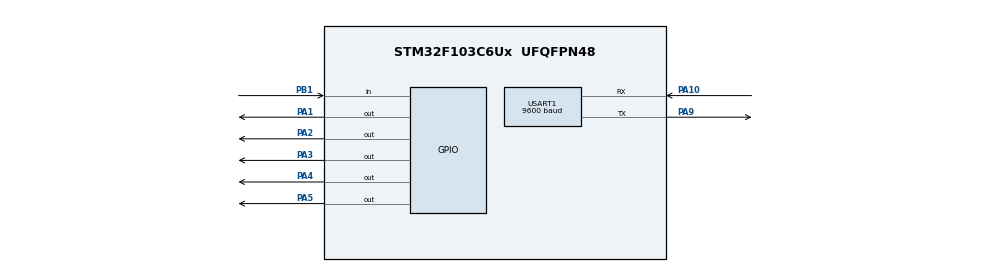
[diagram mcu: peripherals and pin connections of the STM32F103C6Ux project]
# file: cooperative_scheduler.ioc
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Mcu.Family=STM32F1
Mcu.Name=STM32F103C6Ux
Mcu.Package=UFQFPN48
NVIC.PriorityGroup=NVIC_PRIORITYGROUP_4
NVIC.TIM2_IRQn=true\:0\:0\:false\:false\:true\:true\:true
NVIC.USART1_IRQn=true\:0\:0\:false\:false\:true\:true\:true
PA1.Signal=GPIO_Output
PA10.Mode=Asynchronous
PA10.Signal=USART1_RX
PA2.Signal=GPIO_Output
PA3.Signal=GPIO_Output
PA4.Signal=GPIO_Output
PA5.Signal=GPIO_Output
PA9.Mode=Asynchronous
PA9.Signal=USART1_TX
PB1.Signal=GPIO_Input
ProjectManager.HeapSize=0x200
ProjectManager.StackSize=0x400
ProjectManager.TargetToolchain=STM32CubeIDE
RCC.APB1Freq_Value=8000000
RCC.APB2Freq_Value=8000000
TIM2.Period=9
TIM2.Prescaler=7999
USART1.BaudRate=9600
USART1.VirtualMode=VM_ASYNC
VP_SYS_VS_ND.Mode=No_Debug
VP_TIM2_VS_ClockSourceINT.Mode=Internal
board=custom

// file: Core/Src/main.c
/* USER CODE BEGIN Header */
/**
  ******************************************************************************
  * @file           : main.c
  * @brief          : Main program body
  ******************************************************************************
  * @attention
  *
  * <h2><center>&copy; Copyright (c) 2022 STMicroelectronics.
  * All rights reserved.</center></h2>
  *
  * This software component is licensed by ST under BSD 3-Clause license,
  * the "License"; You may not use this file except in compliance with the
  * License. You may obtain a copy of the License at:
  *                        opensource.org/licenses/BSD-3-Clause
  *
  ******************************************************************************
  */
/* USER CODE END Header */
#include "main.h"

/* USER CODE BEGIN Includes */
#include <stdio.h>
#include "scheduler.h"
/* USER CODE END Includes */

TIM_HandleTypeDef htim2;

UART_HandleTypeDef huart1;

void SystemClock_Config(void);
static void MX_GPIO_Init(void);
static void MX_TIM2_Init(void);
static void MX_USART1_UART_Init(void);

/* USER CODE BEGIN 0 */
char str[50];

void ledtest1(){
	HAL_GPIO_TogglePin(GPIOA, GPIO_PIN_1);
	HAL_UART_Transmit(&huart1, (void*) str, sprintf(str, "Task1: %d \r\n",counter), 1000);
}
void ledtest2(){
	HAL_GPIO_TogglePin(GPIOA, GPIO_PIN_2);
	HAL_UART_Transmit(&huart1, (void*) str, sprintf(str, "Task2: %d \r\n",counter), 1000);
}
void ledtest3(){
	HAL_GPIO_TogglePin(GPIOA, GPIO_PIN_3);
	HAL_UART_Transmit(&huart1, (void*) str, sprintf(str, "Task3: %d \r\n",counter), 1000);
}
void ledtest4(){
	HAL_GPIO_TogglePin(GPIOA, GPIO_PIN_4);
	HAL_UART_Transmit(&huart1, (void*) str, sprintf(str, "Task4: %d \r\n",counter), 1000);
}
void ledtest5(){
	HAL_GPIO_TogglePin(GPIOA, GPIO_PIN_5);
	HAL_UART_Transmit(&huart1, (void*) str, sprintf(str, "Task5: %d \r\n",counter), 1000);
}
/* USER CODE END 0 */

int main(void)
{

  /* MCU Configuration--------------------------------------------------------*/

  /* Reset of all peripherals, Initializes the Flash interface and the Systick. */
  HAL_Init();

  /* Configure the system clock */
  SystemClock_Config();

  /* Initialize all configured peripherals */
  MX_GPIO_Init();
  MX_TIM2_Init();
  MX_USART1_UART_Init();
  /* USER CODE BEGIN 2 */
  HAL_TIM_Base_Start_IT (& htim2 );
  /* USER CODE END 2 */

  /* Infinite loop */
  /* USER CODE BEGIN WHILE */
  SCH_Init();
  SCH_Add_Task(ledtest1, 0, 50);
  SCH_Add_Task(ledtest2, 10, 100);
  SCH_Add_Task(ledtest3, 20, 150);
  SCH_Add_Task(ledtest4, 30, 200);
  SCH_Add_Task(ledtest5, 40, 250);
  while (1)
  {
	  SCH_Dispatch_Tasks();
    /* USER CODE END WHILE */

  }
}

void SystemClock_Config(void)
{
  RCC_OscInitTypeDef RCC_OscInitStruct = {0};
  RCC_ClkInitTypeDef RCC_ClkInitStruct = {0};

  /** Initializes the RCC Oscillators according to the specified parameters
  * in the RCC_OscInitTypeDef structure.
  */
  RCC_OscInitStruct.OscillatorType = RCC_OSCILLATORTYPE_HSI;
  RCC_OscInitStruct.HSIState = RCC_HSI_ON;
  RCC_OscInitStruct.HSICalibrationValue = RCC_HSICALIBRATION_DEFAULT;
  RCC_OscInitStruct.PLL.PLLState = RCC_PLL_NONE;
  if (HAL_RCC_OscConfig(&RCC_OscInitStruct) != HAL_OK)
  {
    Error_Handler();
  }
  /** Initializes the CPU, AHB and APB buses clocks
  */
  RCC_ClkInitStruct.ClockType = RCC_CLOCKTYPE_HCLK|RCC_CLOCKTYPE_SYSCLK
                              |RCC_CLOCKTYPE_PCLK1|RCC_CLOCKTYPE_PCLK2;
  RCC_ClkInitStruct.SYSCLKSource = RCC_SYSCLKSOURCE_HSI;
  RCC_ClkInitStruct.AHBCLKDivider = RCC_SYSCLK_DIV1;
  RCC_ClkInitStruct.APB1CLKDivider = RCC_HCLK_DIV1;
  RCC_ClkInitStruct.APB2CLKDivider = RCC_HCLK_DIV1;

  if (HAL_RCC_ClockConfig(&RCC_ClkInitStruct, FLASH_LATENCY_0) != HAL_OK)
  {
    Error_Handler();
  }
}

static void MX_TIM2_Init(void)
{

  TIM_ClockConfigTypeDef sClockSourceConfig = {0};
  TIM_MasterConfigTypeDef sMasterConfig = {0};

  htim2.Instance = TIM2;
  htim2.Init.Prescaler = 7999;
  htim2.Init.CounterMode = TIM_COUNTERMODE_UP;
  htim2.Init.Period = 9;
  htim2.Init.ClockDivision = TIM_CLOCKDIVISION_DIV1;
  htim2.Init.AutoReloadPreload = TIM_AUTORELOAD_PRELOAD_DISABLE;
  if (HAL_TIM_Base_Init(&htim2) != HAL_OK)
  {
    Error_Handler();
  }
  sClockSourceConfig.ClockSource = TIM_CLOCKSOURCE_INTERNAL;
  if (HAL_TIM_ConfigClockSource(&htim2, &sClockSourceConfig) != HAL_OK)
  {
    Error_Handler();
  }
  sMasterConfig.MasterOutputTrigger = TIM_TRGO_RESET;
  sMasterConfig.MasterSlaveMode = TIM_MASTERSLAVEMODE_DISABLE;
  if (HAL_TIMEx_MasterConfigSynchronization(&htim2, &sMasterConfig) != HAL_OK)
  {
    Error_Handler();
  }

}

static void MX_USART1_UART_Init(void)
{

  huart1.Instance = USART1;
  huart1.Init.BaudRate = 9600;
  huart1.Init.WordLength = UART_WORDLENGTH_8B;
  huart1.Init.StopBits = UART_STOPBITS_1;
  huart1.Init.Parity = UART_PARITY_NONE;
  huart1.Init.Mode = UART_MODE_TX_RX;
  huart1.Init.HwFlowCtl = UART_HWCONTROL_NONE;
  huart1.Init.OverSampling = UART_OVERSAMPLING_16;
  if (HAL_UART_Init(&huart1) != HAL_OK)
  {
    Error_Handler();
  }

}

static void MX_GPIO_Init(void)
{
  GPIO_InitTypeDef GPIO_InitStruct = {0};

  /* GPIO Ports Clock Enable */
  __HAL_RCC_GPIOA_CLK_ENABLE();
  __HAL_RCC_GPIOB_CLK_ENABLE();

  /*Configure GPIO pin Output Level */
  HAL_GPIO_WritePin(GPIOA, GPIO_PIN_1|GPIO_PIN_2|GPIO_PIN_3|GPIO_PIN_4
                          |GPIO_PIN_5, GPIO_PIN_RESET);

  /*Configure GPIO pins : PA1 PA2 PA3 PA4
                           PA5 */
  GPIO_InitStruct.Pin = GPIO_PIN_1|GPIO_PIN_2|GPIO_PIN_3|GPIO_PIN_4
                          |GPIO_PIN_5;
  GPIO_InitStruct.Mode = GPIO_MODE_OUTPUT_PP;
  GPIO_InitStruct.Pull = GPIO_NOPULL;
  GPIO_InitStruct.Speed = GPIO_SPEED_FREQ_LOW;
  HAL_GPIO_Init(GPIOA, &GPIO_InitStruct);

  /*Configure GPIO pin : PB1 */
  GPIO_InitStruct.Pin = GPIO_PIN_1;
  GPIO_InitStruct.Mode = GPIO_MODE_INPUT;
  GPIO_InitStruct.Pull = GPIO_NOPULL;
  HAL_GPIO_Init(GPIOB, &GPIO_InitStruct);

}

/* USER CODE BEGIN 4 */

void HAL_TIM_PeriodElapsedCallback ( TIM_HandleTypeDef * htim )
{
	SCH_Update();
	counter++;
}
/* USER CODE END 4 */

void Error_Handler(void)
{
  __disable_irq();
  while (1)
  {
  }
}

/************************ (C) COPYRIGHT STMicroelectronics *****END OF FILE****/
